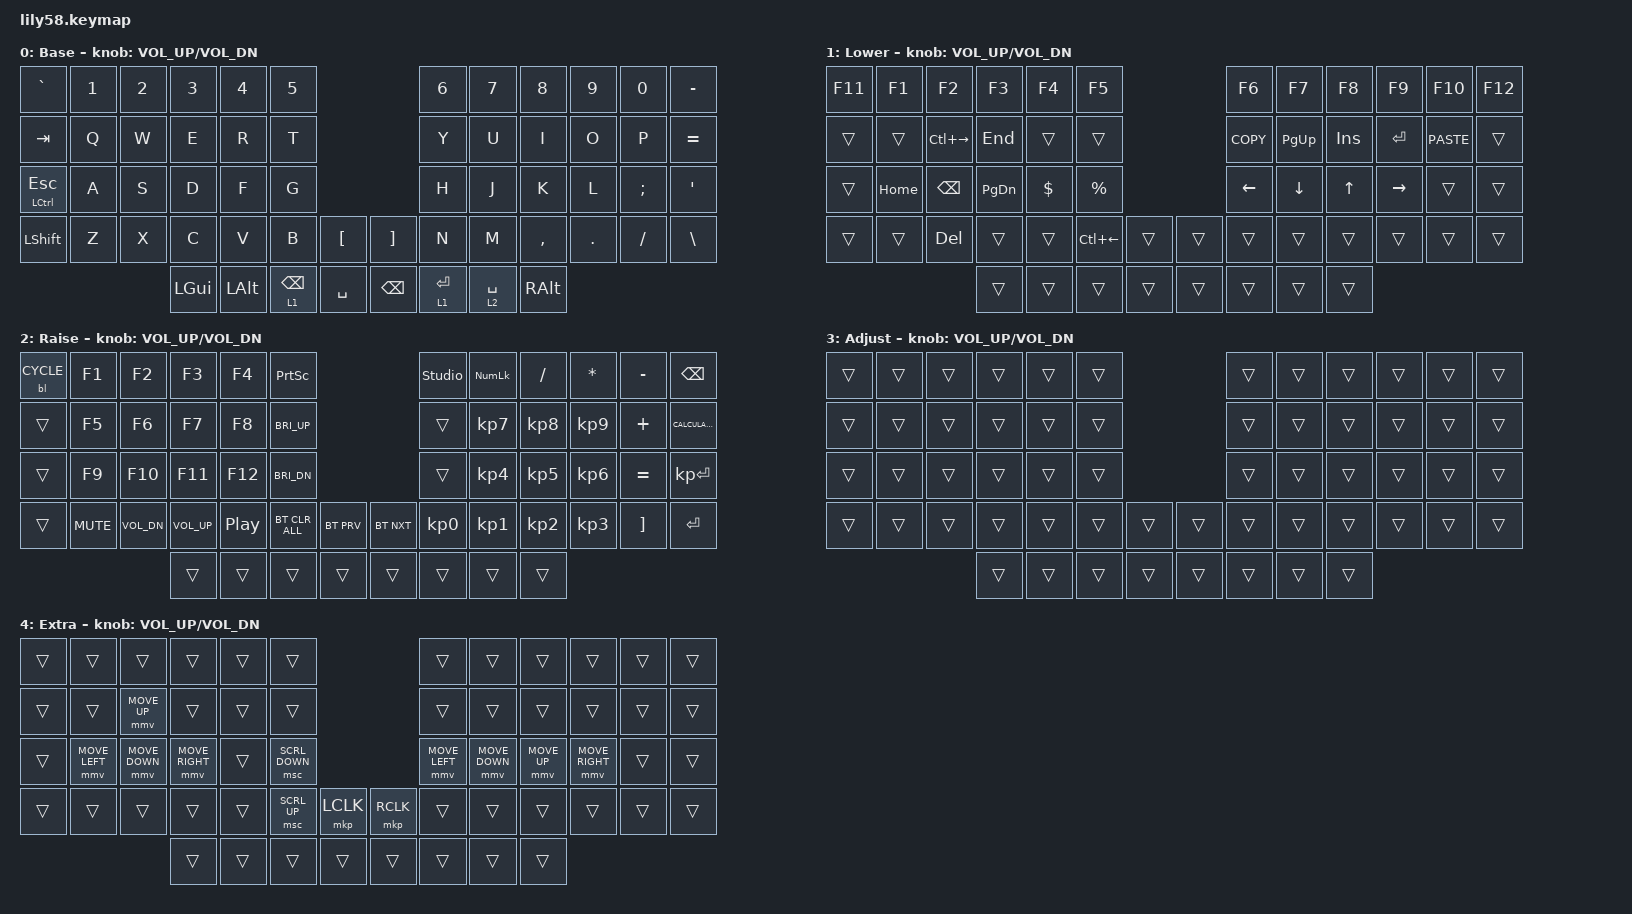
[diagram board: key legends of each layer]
/*
 * Copyright (c) 2020 The ZMK Contributors
 *
 * SPDX-License-Identifier: MIT
 */

#include <behaviors.dtsi>
#include <dt-bindings/zmk/backlight.h>
#include <dt-bindings/zmk/bt.h>
#include <dt-bindings/zmk/keys.h>
#include <dt-bindings/zmk/pointing.h>

#define default_layer 0
#define lower_layer 1
#define raise_layer 2
#define adjust_layer 3
#define extra_layer 4

&mt { tapping-term-ms = <123>; };

/ {
    keymap {
        compatible = "zmk,keymap";

        default_layer {
            display-name = "Base";

            // ------------------------------------------------------------------------------------------------------------
            // |  ESC  |  1  |  2  |  3   |  4   |  5   |                   |  6   |  7    |  8    |  9   |   0   |   `   |
            // |  TAB  |  Q  |  W  |  E   |  R   |  T   |                   |  Y   |  U    |  I    |  O   |   P   |   -   |
            // |  CTRL |  A  |  S  |  D   |  F   |  G   |                   |  H   |  J    |  K    |  L   |   ;   |   '   |
            // | SHIFT |  Z  |  X  |  C   |  V   |  B   |   "["  |  |  "]"  |  N   |  M    |  ,    |  .   |   /   | SHIFT |
            //                     | ALT  | GUI  | LOWER|  SPACE |  | ENTER | RAISE| BSPC  | GUI   |

            bindings = <
&kp GRAVE         &kp N1  &kp N2  &kp N3        &kp N4    &kp N5                                       &kp N6       &kp N7       &kp N8         &kp N9   &kp N0    &kp MINUS
&kp TAB           &kp Q   &kp W   &kp E         &kp R     &kp T                                        &kp Y        &kp U        &kp I          &kp O    &kp P     &kp EQUAL
&mt LCTRL ESCAPE  &kp A   &kp S   &kp D         &kp F     &kp G                                        &kp H        &kp J        &kp K          &kp L    &kp SEMI  &kp SQT
&kp LSHFT         &kp Z   &kp X   &kp C         &kp V     &kp B            &kp LBKT     &kp RBKT       &kp N        &kp M        &kp COMMA      &kp DOT  &kp FSLH  &kp BACKSLASH
                                  &kp LEFT_GUI  &kp LALT  &lt 1 BACKSPACE  &kp SPACE    &kp BACKSPACE  &lt 1 ENTER  &lt 2 SPACE  &kp RIGHT_ALT
            >;

            sensor-bindings = <&inc_dec_kp C_VOL_UP C_VOL_DN>;
        };

        lower_layer {
            display-name = "Lower";

            // ------------------------------------------------------------------------------------------------------------
            // | BTCLR | BT1 | BT2 |  BT3 |  BT4 |  BT5 |                   |      |       |       |      |       |       |
            // |  F1   |  F2 |  F3 |  F4  |  F5  |  F6  |                   |  F7  |  F8   |  F9   |  F10 |  F11  |  F12  |
            // |   `   |  !  |  @  |  #   |  $   |  %   |                   |  ^   |  &    |  *    |  (   |   )   |   ~   |
            // |       |     |     |      |      |      |        |  |       |      |  _    |  +    |  {   |   }   |  "|"  |
            //                     |      |      |      |        |  |       |      |       |       |

            bindings = <
&kp F11  &kp F1    &kp F2         &kp F3         &kp F4      &kp F5                          &kp F6      &kp F7       &kp F8        &kp F9     &kp F10      &kp F12
&trans   &trans    &kp LC(RIGHT)  &kp END        &trans      &trans                          &kp K_COPY  &kp PAGE_UP  &kp INS       &kp RET    &kp K_PASTE  &trans
&trans   &kp HOME  &kp BACKSPACE  &kp PAGE_DOWN  &kp DOLLAR  &kp PRCNT                       &kp LEFT    &kp DOWN     &kp UP_ARROW  &kp RIGHT  &trans       &trans
&trans   &trans    &kp DEL        &trans         &trans      &kp LC(LEFT)  &trans    &trans  &trans      &trans       &trans        &trans     &trans       &trans
                                  &trans         &trans      &trans        &trans    &trans  &trans      &trans       &trans
            >;

            sensor-bindings = <&inc_dec_kp C_VOL_UP C_VOL_DN>;
        };

        raise_layer {
            display-name = "Raise";

            // ------------------------------------------------------------------------------------------------------------
            // |       |     |     |      |      |      |                   |      |       |       |      |       |       |
            // |   `   |  1  |  2  |  3   |  4   |  5   |                   |  6   |   7   |   8   |  9   |   0   |       |
            // |   F1  |  F2 |  F3 |  F4  |  F5  |  F6  |                   |      |   <-  |   v   |  ^   |  ->   |       |
            // |   F7  |  F8 |  F9 |  F10 |  F11 |  F12 |        |  |       |  +   |   -   |   =   |  [   |   ]   |   \   |
            //                     |      |      |      |        |  |       |      |       |       |

            bindings = <
&bl BL_CYCLE  &kp F1      &kp F2        &kp F3        &kp F4    &kp PRINTSCREEN                            &studio_unlock   &kp KP_NUMLOCK   &kp SLASH        &kp ASTERISK     &kp MINUS  &kp BACKSPACE
&trans        &kp F5      &kp F6        &kp F7        &kp F8    &kp C_BRI_UP                               &trans           &kp KP_NUMBER_7  &kp KP_NUMBER_8  &kp KP_NUMBER_9  &kp PLUS   &kp K_CALCULATOR
&trans        &kp F9      &kp F10       &kp F11       &kp F12   &kp C_BRI_DN                               &trans           &kp KP_NUMBER_4  &kp KP_NUMBER_5  &kp KP_NUMBER_6  &kp EQUAL  &kp KP_ENTER
&trans        &kp K_MUTE  &kp C_VOL_DN  &kp C_VOL_UP  &kp C_PP  &bt BT_CLR_ALL   &bt BT_PRV    &bt BT_NXT  &kp KP_NUMBER_0  &kp KP_NUMBER_1  &kp KP_NUMBER_2  &kp KP_NUMBER_3  &kp RBKT   &kp ENTER
                                        &trans        &trans    &trans           &trans        &trans      &trans           &trans           &trans
            >;

            sensor-bindings = <&inc_dec_kp C_VOL_UP C_VOL_DN>;
        };

        adjust_layer {
            display-name = "Adjust";

            // ------------------------------------------------------------------------------------------------------------
            // |       |     |     |      |      |      |                   |      |       |       |      |       |       |
            // |   `   |  1  |  2  |  3   |  4   |  5   |                   |  6   |   7   |   8   |  9   |   0   |       |
            // |   F1  |  F2 |  F3 |  F4  |  F5  |  F6  |                   |      |   <-  |   v   |  ^   |  ->   |       |
            // |   F7  |  F8 |  F9 |  F10 |  F11 |  F12 |        |  |       |  +   |   -   |   =   |  [   |   ]   |   \   |
            //                     |      |      |      |        |  |       |      |       |       |

            bindings = <
&trans  &trans  &trans  &trans  &trans  &trans                    &trans  &trans  &trans  &trans  &trans  &trans
&trans  &trans  &trans  &trans  &trans  &trans                    &trans  &trans  &trans  &trans  &trans  &trans
&trans  &trans  &trans  &trans  &trans  &trans                    &trans  &trans  &trans  &trans  &trans  &trans
&trans  &trans  &trans  &trans  &trans  &trans  &trans    &trans  &trans  &trans  &trans  &trans  &trans  &trans
                        &trans  &trans  &trans  &trans    &trans  &trans  &trans  &trans
            >;

            sensor-bindings = <&inc_dec_kp C_VOL_UP C_VOL_DN>;
        };

        extra_layer {
            display-name = "Extra";

            // ------------------------------------------------------------------------------------------------------------
            // |       |     |     |      |      |      |                   |      |       |       |      |       |       |
            // |   `   |  1  |  2  |  3   |  4   |  5   |                   |  6   |   7   |   8   |  9   |   0   |       |
            // |   F1  |  F2 |  F3 |  F4  |  F5  |  F6  |                   |      |   <-  |   v   |  ^   |  ->   |       |
            // |   F7  |  F8 |  F9 |  F10 |  F11 |  F12 |        |  |       |  +   |   -   |   =   |  [   |   ]   |   \   |
            //                     |      |      |      |        |  |       |      |       |       |

            bindings = <
&trans  &trans          &trans          &trans           &trans  &trans                                  &trans          &trans          &trans        &trans           &trans  &trans
&trans  &trans          &mmv MOVE_UP    &trans           &trans  &trans                                  &trans          &trans          &trans        &trans           &trans  &trans
&trans  &mmv MOVE_LEFT  &mmv MOVE_DOWN  &mmv MOVE_RIGHT  &trans  &msc SCRL_DOWN                          &mmv MOVE_LEFT  &mmv MOVE_DOWN  &mmv MOVE_UP  &mmv MOVE_RIGHT  &trans  &trans
&trans  &trans          &trans          &trans           &trans  &msc SCRL_UP    &mkp LCLK    &mkp RCLK  &trans          &trans          &trans        &trans           &trans  &trans
                                        &trans           &trans  &trans          &trans       &trans     &trans          &trans          &trans
            >;

            sensor-bindings = <&inc_dec_kp C_VOL_UP C_VOL_DN>;
        };
    };

    conditional_layers {
        compatible = "zmk,conditional-layers";

        LowerRaise_Extra {
            if-layers = <1 2>;
            then-layer = <4>;
        };
    };
};
